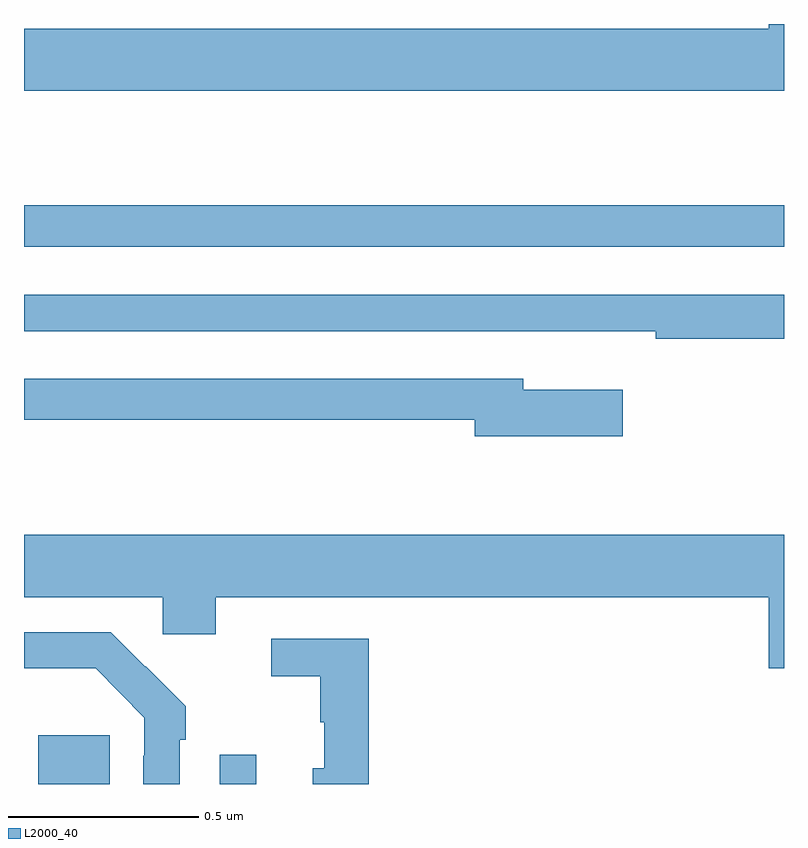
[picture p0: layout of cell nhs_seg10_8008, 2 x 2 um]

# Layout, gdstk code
import gdstk
lib = gdstk.Library(unit=1e-6, precision=1e-09)
def R(c, l, rs):  # rectangles x0, y0, x1, y1
    for r in rs: c.add(gdstk.rectangle(r[:2], r[2:], *l))
def P(c, l, *ps):  # polygons
    for p in ps: c.add(gdstk.Polygon(p, *l))
L2000_40 = (2000, 40)

nhs_seg10_8008 = lib.new_cell('nhs_seg10_8008')
R(nhs_seg10_8008, L2000_40, [(211.037,1290.5,211.225,1290.628), (211.515,1290.5,211.611,1290.577), (211,1291.914,213,1292.023)])
P(nhs_seg10_8008, L2000_40, [(213,1292.5),(212.96,1292.5),(212.96,1292.488),(211,1292.488),(211,1292.324),(213,1292.324)],
  [(213,1291.788),(211,1291.788),(211,1291.692),(212.41,1291.692),(212.41,1291.691),(212.662,1291.691),(212.662,1291.672),(213,1291.672)],
  [(212.575,1291.537),(212.314,1291.537),(212.314,1291.566),(211,1291.566),(211,1291.458),(212.186,1291.458),(212.186,1291.415),(212.575,1291.415)],
  [(213,1291.156),(211,1291.156),(211,1290.992),(211.365,1290.992),(211.365,1290.894),(211.504,1290.894),(211.504,1290.992),(212.96,1290.992),(212.96,1290.804),(213,1290.804)],
  [(211.41,1290.617),(211.425,1290.617),(211.425,1290.705),(211.32,1290.81),(211.319,1290.809),(211.228,1290.9),(211,1290.9),(211,1290.804),(211.189,1290.804),(211.317,1290.675),(211.317,1290.575),(211.314,1290.575),(211.314,1290.5),(211.41,1290.5)],
  [(211.907,1290.882),(211.65,1290.882),(211.65,1290.784),(211.779,1290.784),(211.779,1290.663),(211.79,1290.663),(211.79,1290.541),(211.76,1290.541),(211.76,1290.5),(211.907,1290.5)])

lib.write_gds('nhs_seg10_8008.gds')
